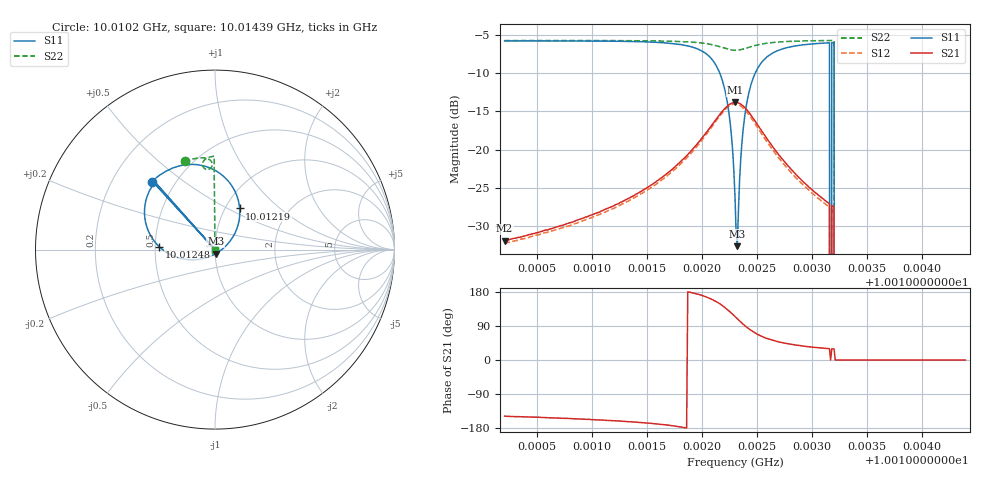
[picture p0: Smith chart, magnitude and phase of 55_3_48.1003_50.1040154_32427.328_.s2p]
#  HZ  S  RI  R  50.00
! Rohde & Schwarz Vector Network Analyzer
! Rohde-Schwarz,ZNB20-2Port,1311601062101988,3.16
! Created: UTC 12/23/2023, 3:40:11 AM
! freq[Hz]  re:S11  im:S11  re:S21  im:S21  re:S12  im:S12  re:S22  im:S22
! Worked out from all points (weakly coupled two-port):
!   401 points, 10.0102 GHz to 10.01439 GHz, reference 50 ohm
!   highest |S21| = -13.81 dB at 10.0123 GHz (marker M1); lowest = -32.0 dB at 10.0102 GHz (marker M2)
!   lowest |S11| = -32.7 dB at 10.01232 GHz (marker M3), VSWR 1.05, Z = 50.3 - j2.3 ohm
!   |S11| at or under -10 dB: 10.01216 GHz to 10.01248 GHz (320.4 kHz wide, 0.0032 % of centre); 10.01316 GHz to 10.01318 GHz (20.52 kHz wide, 0.000205 % of centre); 10.0132 GHz to end of sweep
!   |S22| runs from - to -5.7 dB; largest |S21 - S12| = 0.0095
!   S11 on the Smith chart (normalised r, x): 10.0102 GHz: 0.37, +0.38; 10.01219 GHz: 1.17, +0.58; 10.01248 GHz: 0.53, +0.02; 10.01439 GHz: 1.00, +0.00
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1.0010203e10  -0.353 0.3774  -0.0214 -0.0133  -0.0199 -0.0139  -0.1688 0.4908
1.0010905e10  -0.2968 0.4223  -0.0322 -0.0142  -0.0302 -0.0152  -0.1226 0.5047
1.0011607e10  -0.1856 0.4692  -0.0623 -0.0117  -0.0594 -0.0145  -0.0688 0.5115
1.0011995e10  -0.00601 0.4447  -0.1166 0.0189  -0.1139 0.0123  -0.0285 0.4998
1.001211e10  0.0889 0.3624  -0.1398 0.0598  -0.1394 0.0514  -0.017 0.4839
1.0012194e10  0.1375 0.2293  -0.1422 0.1134  -0.1441 0.1047  -0.0166 0.4653
1.0012257e10  0.1119 0.0928  -0.1174 0.161  -0.1216 0.1531  -0.0267 0.4513
1.0012298e10  0.0482 0.00877  -0.0858 0.185  -0.0892 0.1782  -0.0382 0.4465
1.0012319e10  0.00369 -0.0229  -0.066 0.1923  -0.0697 0.1856  -0.0448 0.4465
1.001233e10  -0.0196 -0.0347  -0.056 0.1942  -0.0597 0.1877  -0.048 0.447
1.0012382e10  -0.1449 -0.0568  -0.00645 0.1902  -0.012 0.1839  -0.0612 0.4546
1.0012477e10  -0.3103 0.0157  0.0473 0.1481  0.0413 0.1433  -0.069 0.4761
1.0012644e10  -0.3914 0.1815  0.064 0.0813  0.0583 0.0797  -0.0563 0.5013
1.0013e10  -0.3596 0.3381  0.0449 0.0304  0.0413 0.0308  -0.0218 0.5176
1.0013137e10  -0.3423 0.3665  0.0389 0.0228  0.036 0.0234  -0.0104 0.5197
1.0013147e10  -0.341 0.3684  0.0386 0.0223  0.0357 0.0229  -0.00944 0.5199
1.0013179e10  -0.3371 0.3737  0.0373 0.0212  0.0344 0.0217  -0.00706 0.5203
1.0013189e10  -0.3357 0.3753  0.0369 0.0207  0.0341 0.0213  -0.00621 0.5203
1.00132e10  -0.3345 0.3771  0.0366 0.0203  0.0338 0.0211  -0.00516 0.5203
1.0013231e10  0 0  0 0  0 0  0 0
1.0013702e10  0 0  0 0  0 0  0 0
1.0014394e10  0 0  0 0  0 0  0 0
